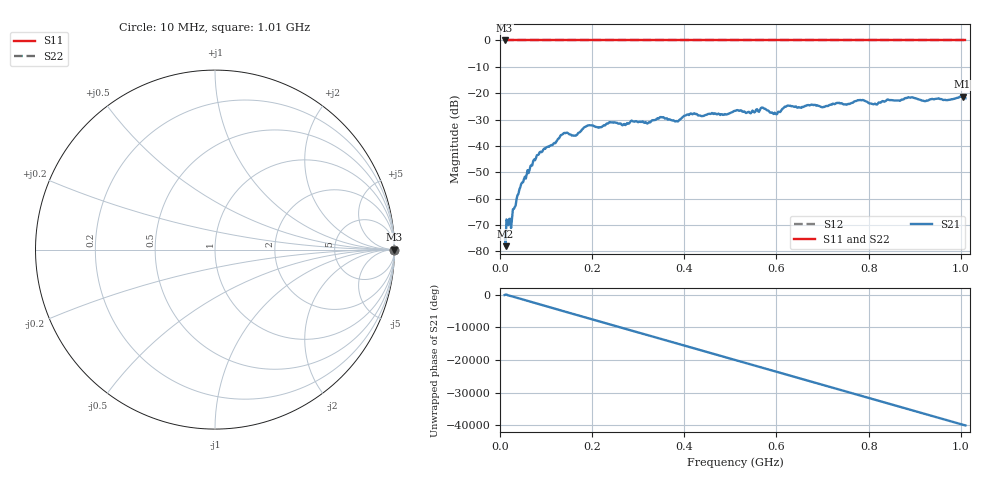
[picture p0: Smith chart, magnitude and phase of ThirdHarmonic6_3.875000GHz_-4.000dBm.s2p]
! 8/17/2025 1:34:21 PM
! C:\ANRITSUVNA\TEMP\TEMP.S2P
! CHANNEL.1
! TR.MEASUREMENT
! RAW.DATA
! RF.CORRECTION.OFF
! AVERAGING.OFF
! IF.BANDWIDTH: 5KHZ
! SWEEPTYPE:  FREQ.SWEEP(Linear)
! Reference Plane Port Info
! PORT:  PORT1  PORT2
! DISTANCE:  0  m  0  m
! TIME:  0  s  0  s
! PHASE.OFFSET:  0  deg.  0  deg.
! LOSS:  0  dB  0  dB
! REF.LOSS:  0  dB  0  dB
! REF.FREQ:  0  Hz  0  Hz
! Power Info
! POWER:  -20  dBm  -20  dBm
! EFF.POWER:  -20  dBm  -20  dBm
! SOURCE.ATTEN:  0  dB  0  dB
! TEST.ATTEN:  0  dB  0  dB
# GHZ S RI R 50.0
! FREQ.GHZ  S11RE  S11IM  S21RE  S21IM  S12RE  S12IM  S22RE  S22IM
!; PortSelection: Port_12
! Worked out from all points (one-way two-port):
!   501 points, 10 MHz to 1.01 GHz, reference 50 ohm
!   highest |S21| = -21.31 dB at 1.004 GHz (marker M1); lowest = -78.1 dB at 12 MHz (marker M2)
!   lowest |S11| = 0.0 dB at 10 MHz (marker M3)
!   |S11| at or under -10 dB: nowhere
!   |S22| runs from 0.0 to 0.0 dB; largest |S21 - S12| = 1.1
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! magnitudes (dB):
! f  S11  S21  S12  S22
! 10 MHz  0.0  -72.6  0.0  0.0
! 12 MHz  0.0  -78.1  0.0  0.0
! 18 MHz  0.0  -70.1  0.0  0.0
! 22 MHz  0.0  -67.7  0.0  0.0
! 28 MHz  0.0  -64.1  0.0  0.0
! 46 MHz  0.0  -54.5  0.0  0.0
! 84 MHz  0.0  -43.3  0.0  0.0
! 136 MHz  0.0  -35.6  0.0  0.0
! 162 MHz  0.0  -36.1  0.0  0.0
! 178 MHz  0.0  -33.8  0.0  0.0
! 344 MHz  0.0  -29.7  0.0  0.0
! 384 MHz  0.0  -30.6  0.0  0.0
! 416 MHz  0.0  -27.9  0.0  0.0
! 510 MHz  0.0  -26.7  0.0  0.0
! 570 MHz  0.0  -25.5  0.0  0.0
! 598 MHz  0.0  -27.7  0.0  0.0
! 622 MHz  0.0  -24.9  0.0  0.0
! 678 MHz  0.0  -24.4  0.0  0.0
! 814 MHz  0.0  -24.0  0.0  0.0
! 844 MHz  0.0  -22.6  0.0  0.0
! 1.004 GHz  0.0  -21.3  0.0  0.0
! 1.01 GHz  0.0  -21.9  0.0  0.0
